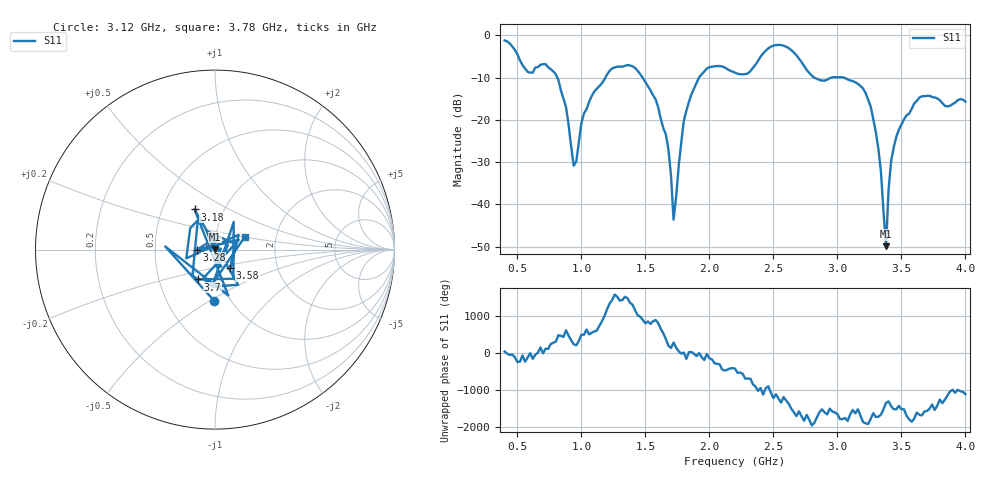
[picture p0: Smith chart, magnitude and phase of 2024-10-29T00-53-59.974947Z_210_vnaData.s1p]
!Created with skrf (http://scikit-rf.org).
# Hz S RI R 50.0
!freq ReS11 ImS11
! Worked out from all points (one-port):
!   181 points, 400 MHz to 4 GHz, reference 50 ohm
!   lowest |S11| = -49.9 dB at 3.38 GHz (marker M1), VSWR 1.01, Z = 49.9 + j0.314 ohm
!   |S11| at or under -10 dB: 811.3 MHz to 1.188 GHz (376.4 MHz wide, 37.7 % of centre); 1.478 GHz to 1.919 GHz (440.5 MHz wide, 25.9 % of centre); 3.046 GHz to end of sweep (the widest 3 of 4)
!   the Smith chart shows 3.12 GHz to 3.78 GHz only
!   S11 on the Smith chart (normalised r, x): 3.12 GHz: 0.84, -0.53; 3.18 GHz: 0.73, +0.35; 3.28 GHz: 0.81, -0.00; 3.58 GHz: 1.16, -0.24; 3.7 GHz: 0.78, -0.27; 3.78 GHz: 1.38, +0.20
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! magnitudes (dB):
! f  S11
! 400 MHz  -1.2
! 580 MHz  -8.7
! 780 MHz  -8.5
! 860 MHz  -15.1
! 940 MHz  -30.9
! 1.08 GHz  -14.4
! 1.3 GHz  -7.4
! 1.58 GHz  -15.2
! 1.68 GHz  -27.0
! 1.72 GHz  -43.6
! 1.76 GHz  -31.0
! 1.8 GHz  -20.2
! 1.92 GHz  -9.9
! 2.2 GHz  -8.9
! 2.66 GHz  -4.1
! 2.82 GHz  -10.1
! 3.1 GHz  -10.7
! 3.12 GHz  -10.9
! 3.18 GHz  -12.0
! 3.28 GHz  -19.8
! 3.34 GHz  -32.2
! 3.38 GHz  -49.9
! 3.42 GHz  -29.8
! 3.56 GHz  -18.6
! 3.58 GHz  -17.5
! 3.7 GHz  -14.3
! 3.78 GHz  -15.0
! 4 GHz  -15.7
